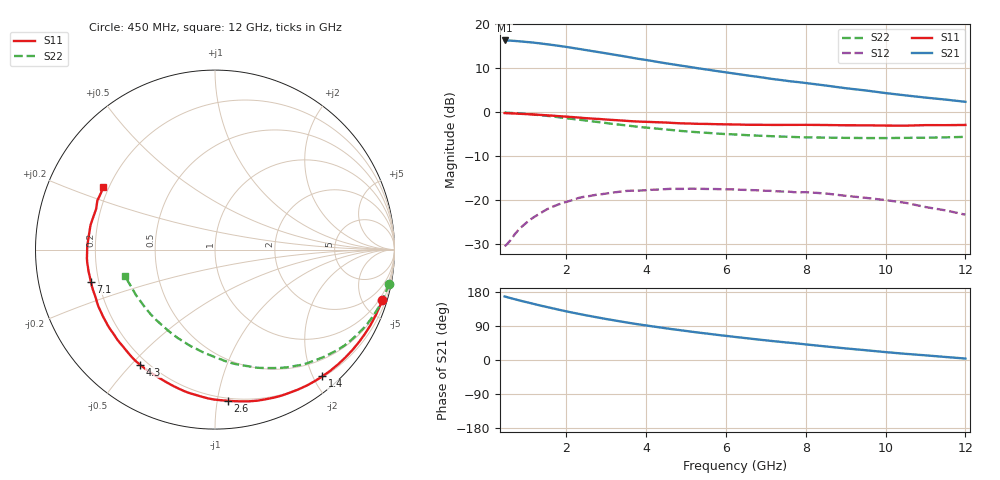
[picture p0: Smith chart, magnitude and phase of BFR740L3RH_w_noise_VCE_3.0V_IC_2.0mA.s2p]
! (c) 2012  Infineon Technologies AG, Munich
! Infineon Technologies  Discrete & RF Semiconductors
! BFR740L3RH
! VCE =  3.0 V,  IC =  2.0 mA
! Common Emitter S-Parameters:  May 2012
# GHz  S  MA  R  50
!  f  S11  S21  S12  S22
! GHz  MAG  ANG  MAG  ANG  MAG  ANG  MAG  ANG
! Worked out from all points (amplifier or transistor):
!   85 points, 450 MHz to 12 GHz, reference 50 ohm
!   highest |S21| = 16.4 dB at 450 MHz (marker M1)
!   |S21| within 3 dB of that: start of sweep to 3.035 GHz
!   unconditionally stable (mu >= 1): 10.07 GHz to end of sweep
!   at 1.8 GHz: K = 0.11, MSG = 18.1 dB, |S12| = -21.1 dB
!   at 4.6 GHz: K = 0.27, MSG = 14.3 dB, |S12| = -17.5 dB
!   at 12 GHz: K = 1.78, MAG = 7.8 dB, |S12| = -23.4 dB
!   lowest NFmin = 0.30 dB at 450 MHz
!   S11 on the Smith chart (normalised r, x): 450 MHz: 0.59, -6.68; 1.4 GHz: 0.22, -2.14; 2.6 GHz: 0.18, -1.07; 4.3 GHz: 0.17, -0.53; 7.1 GHz: 0.17, -0.12; 12 GHz: 0.18, +0.25
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0.45  0.9745 -16.9  6.57 167.7  0.0295 81.4  0.9891 -11.1
0.7  0.9634 -25.8  6.491 160.5  0.0401 71.6  0.9738 -16.9
0.9  0.9534 -32.7  6.374 155.1  0.0501 67.2  0.9601 -21.4
1.2  0.9374 -43.0  6.188 147.5  0.0639 60.2  0.9355 -28.1
1.4  0.9256 -49.7  6.035 142.4  0.0726 55.9  0.916 -32.4
1.7  0.9067 -59.3  5.794 135.3  0.0848 50.0  0.8861 -38.6
1.9  0.8939 -65.6  5.627 130.6  0.0916 46.2  0.863 -42.5
2.1  0.8798 -71.6  5.451 126.1  0.0974 42.7  0.8409 -46.3
2.4  0.8586 -80.0  5.182 119.8  0.1072 36.9  0.8106 -51.8
2.6  0.8452 -85.1  5.007 115.9  0.1106 33.9  0.789 -55.1
3  0.8222 -95.4  4.681 108.1  0.1177 27.1  0.7496 -61.6
3.5  0.7946 -107.0  4.289 99.2  0.1259 19.7  0.7045 -69.3
3.9  0.7763 -115.4  3.993 92.6  0.1276 14.2  0.6719 -74.8
4.3  0.7652 -123.2  3.727 86.6  0.1307 9.8  0.6457 -80.3
4.7  0.7505 -130.5  3.486 80.7  0.1331 5.0  0.6203 -85.4
5.2  0.7367 -139.0  3.215 73.8  0.1335 -0.7  0.5932 -91.5
5.9  0.7263 -149.6  2.885 64.8  0.1318 -7.4  0.5644 -100.0
6.3  0.7214 -155.1  2.715 60.0  0.1303 -11.4  0.5527 -104.8
7.1  0.7142 -165.5  2.41 50.7  0.1262 -18.7  0.5318 -114.1
8.5  0.7121 178.4  2.01 35.7  0.1178 -30.4  0.5111 -129.7
10.5  0.7001 161.0  1.551 16.3  0.0922 -48.5  0.5081 -150.2
12  0.7134 150.6  1.31 3.8  0.0675 -55.8  0.5216 -163.5
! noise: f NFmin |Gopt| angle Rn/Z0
0.45  0.3  0.73  4  0.25
0.9  0.33  0.7  17  0.24
1.5  0.38  0.66  30  0.23
1.9  0.42  0.66  38  0.22
2.4  0.48  0.64  47  0.21
3.5  0.61  0.6  68  0.19
5.5  0.87  0.65  98  0.16
8  1.18  0.59  137  0.09
10  1.42  0.62  161  0.04
12  1.65  0.69  -163  0.04
